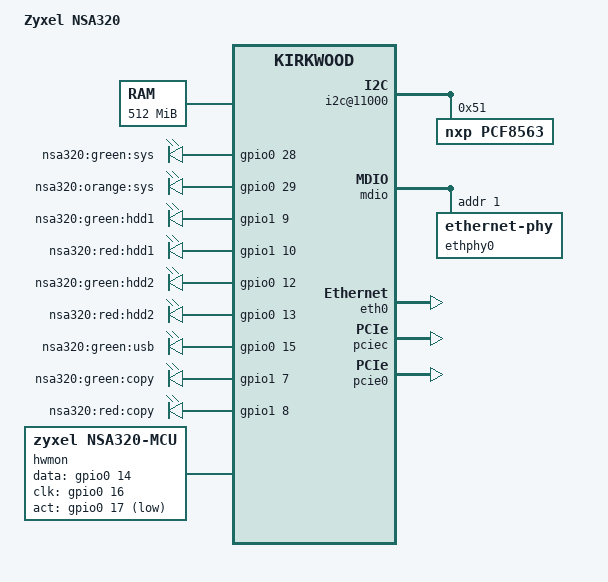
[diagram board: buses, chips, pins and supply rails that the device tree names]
// SPDX-License-Identifier: GPL-2.0+
/* Device tree file for the Zyxel NSA 320 NAS box.
 *
 * Copyright (c) 2014, Adam Baker <linux@baker-net.org.uk>
 *
 *
 * Based upon the board setup file created by Peter Schildmann */

/dts-v1/;

#include "kirkwood-nsa3x0-common.dtsi"

/ {
	model = "Zyxel NSA320";
	compatible = "zyxel,nsa320", "marvell,kirkwood-88f6281", "marvell,kirkwood";

	memory {
		device_type = "memory";
		reg = <0x00000000 0x20000000>;
	};

	chosen {
		bootargs = "console=ttyS0,115200";
		stdout-path = &uart0;
	};

	ocp@f1000000 {
		pinctrl: pin-controller@10000 {
			pinctrl-names = "default";

			/* SATA Activity and Present pins are not connected */
			pmx_sata0: pmx-sata0 {
				marvell,pins ;
				marvell,function = "sata0";
			};

			pmx_sata1: pmx-sata1 {
				marvell,pins ;
				marvell,function = "sata1";
			};

			pmx_led_hdd2_green: pmx-led-hdd2-green {
				marvell,pins = "mpp12";
				marvell,function = "gpio";
			};

			pmx_led_hdd2_red: pmx-led-hdd2-red {
				marvell,pins = "mpp13";
				marvell,function = "gpio";
			};

			pmx_mcu_data: pmx-mcu-data {
				marvell,pins = "mpp14";
				marvell,function = "gpio";
			};

			pmx_led_usb_green: pmx-led-usb-green {
				marvell,pins = "mpp15";
				marvell,function = "gpio";
			};

			pmx_mcu_clk: pmx-mcu-clk {
				marvell,pins = "mpp16";
				marvell,function = "gpio";
			};

			pmx_mcu_act: pmx-mcu-act {
				marvell,pins = "mpp17";
				marvell,function = "gpio";
			};

			pmx_led_sys_green: pmx-led-sys-green {
				marvell,pins = "mpp28";
				marvell,function = "gpio";
			};

			pmx_led_sys_orange: pmx-led-sys-orange {
				marvell,pins = "mpp29";
				marvell,function = "gpio";
			};

			pmx_led_hdd1_green: pmx-led-hdd1-green {
				marvell,pins = "mpp41";
				marvell,function = "gpio";
			};

			pmx_led_hdd1_red: pmx-led-hdd1-red {
				marvell,pins = "mpp42";
				marvell,function = "gpio";
			};

			pmx_htp: pmx-htp {
				marvell,pins = "mpp43";
				marvell,function = "gpio";
			};

			/* Buzzer needs to be switched at around 1kHz so is
			   not compatible with the gpio-beeper driver. */
			pmx_buzzer: pmx-buzzer {
				marvell,pins = "mpp44";
				marvell,function = "gpio";
			};

			pmx_vid_b1: pmx-vid-b1 {
				marvell,pins = "mpp45";
				marvell,function = "gpio";
			};

			pmx_power_resume_data: pmx-power-resume-data {
				marvell,pins = "mpp47";
				marvell,function = "gpio";
			};

			pmx_power_resume_clk: pmx-power-resume-clk {
				marvell,pins = "mpp49";
				marvell,function = "gpio";
			};
		};

		i2c@11000 {
			status = "okay";

			pcf8563: pcf8563@51 {
				compatible = "nxp,pcf8563";
				reg = <0x51>;
			};
		};
	};

	regulators {
		usb0_power: regulator@1 {
			enable-active-high;
		};
	};

	gpio-leds {
		compatible = "gpio-leds";
		pinctrl-0 = <&pmx_led_hdd2_green &pmx_led_hdd2_red
			     &pmx_led_usb_green
			     &pmx_led_sys_green &pmx_led_sys_orange
			     &pmx_led_copy_green &pmx_led_copy_red
			     &pmx_led_hdd1_green &pmx_led_hdd1_red>;
		pinctrl-names = "default";

		green-sys {
			label = "nsa320:green:sys";
			gpios = <&gpio0 28 GPIO_ACTIVE_HIGH>;
		};
		orange-sys {
			label = "nsa320:orange:sys";
			gpios = <&gpio0 29 GPIO_ACTIVE_HIGH>;
		};
		green-hdd1 {
			label = "nsa320:green:hdd1";
			gpios = <&gpio1 9 GPIO_ACTIVE_HIGH>;
		};
		red-hdd1 {
			label = "nsa320:red:hdd1";
			gpios = <&gpio1 10 GPIO_ACTIVE_HIGH>;
		};
		green-hdd2 {
			label = "nsa320:green:hdd2";
			gpios = <&gpio0 12 GPIO_ACTIVE_HIGH>;
		};
		red-hdd2 {
			label = "nsa320:red:hdd2";
			gpios = <&gpio0 13 GPIO_ACTIVE_HIGH>;
		};
		green-usb {
			label = "nsa320:green:usb";
			gpios = <&gpio0 15 GPIO_ACTIVE_HIGH>;
		};
		green-copy {
			label = "nsa320:green:copy";
			gpios = <&gpio1 7 GPIO_ACTIVE_HIGH>;
		};
		red-copy {
			label = "nsa320:red:copy";
			gpios = <&gpio1 8 GPIO_ACTIVE_HIGH>;
		};
	};

	hwmon {
		compatible = "zyxel,nsa320-mcu";
		pinctrl-0 = <&pmx_mcu_data &pmx_mcu_clk &pmx_mcu_act>;
		pinctrl-names = "default";

		data-gpios = <&gpio0 14 GPIO_ACTIVE_HIGH>;
		clk-gpios = <&gpio0 16 GPIO_ACTIVE_HIGH>;
		act-gpios = <&gpio0 17 GPIO_ACTIVE_LOW>;
	};

	/* The following pins are currently not assigned to a driver,
	   some of them should be configured as inputs.
	pinctrl-0 = <&pmx_htp &pmx_vid_b1
		     &pmx_power_resume_data &pmx_power_resume_clk>; */
};

&mdio {
	status = "okay";
	ethphy0: ethernet-phy@1 {
		reg = <1>;
	};
};

&eth0 {
	status = "okay";
	ethernet0-port@0 {
		phy-handle = <&ethphy0>;
	};
};

&pciec {
	status = "okay";
};

&pcie0 {
	status = "okay";
};
